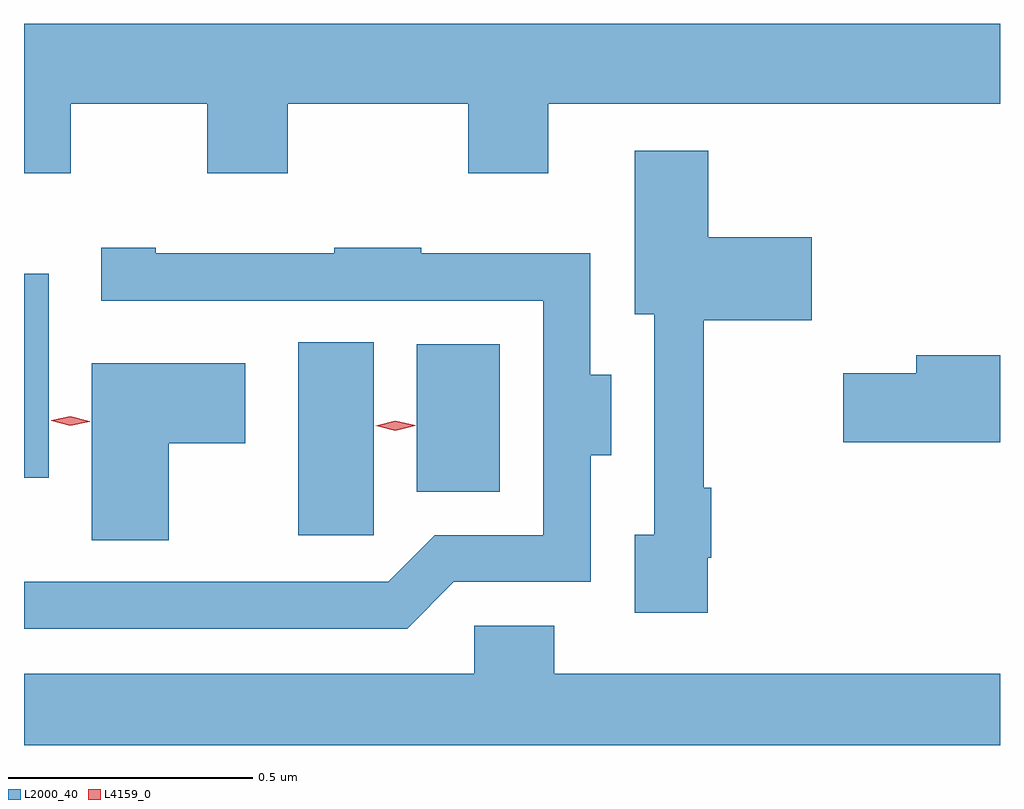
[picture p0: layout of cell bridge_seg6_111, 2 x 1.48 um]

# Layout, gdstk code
import gdstk
lib = gdstk.Library(unit=1e-6, precision=1e-09)
def R(c, l, rs):  # rectangles x0, y0, x1, y1
    for r in rs: c.add(gdstk.rectangle(r[:2], r[2:], *l))
def P(c, l, *ps):  # polygons
    for p in ps: c.add(gdstk.Polygon(p, *l))
L2000_40 = (2000, 40)
L4159_0 = (4159, 0)

bridge_seg6_111 = lib.new_cell('bridge_seg6_111')
R(bridge_seg6_111, L2000_40, [(462.365,993.072,462.52,993.467), (462.608,993.161,462.778,993.463), (461.803,993.189,461.854,993.607)])
P(bridge_seg6_111, L2000_40, [(461.899,993.956),(462.179,993.956),(462.179,993.813),(462.343,993.813),(462.343,993.956),(462.713,993.956),(462.713,993.813),(462.877,993.813),(462.877,993.956),(463.803,993.956),(463.803,994.12),(461.803,994.12),(461.803,993.813),(461.899,993.813)],
  [(463.204,993.025),(463.211,993.025),(463.211,993.169),(463.196,993.169),(463.196,993.512),(463.417,993.512),(463.417,993.682),(463.205,993.682),(463.205,993.859),(463.055,993.859),(463.055,993.524),(463.095,993.524),(463.095,993.073),(463.055,993.073),(463.055,992.913),(463.204,992.913)],
  [(462.684,992.976),(462.964,992.976),(462.964,993.236),(463.006,993.236),(463.006,993.4),(462.963,993.4),(462.963,993.649),(462.617,993.649),(462.617,993.661),(462.439,993.661),(462.439,993.649),(462.073,993.649),(462.073,993.661),(461.961,993.661),(461.961,993.552),(462.867,993.552),(462.867,993.072),(462.645,993.072),(462.549,992.976),(461.803,992.976),(461.803,992.88),(462.588,992.88)],
  [(463.803,993.44),(463.631,993.44),(463.631,993.404),(463.482,993.404),(463.482,993.262),(463.803,993.262)],
  [(462.1,993.26),(462.256,993.26),(462.256,993.424),(461.942,993.424),(461.942,993.061),(462.1,993.061)],
  [(463.803,992.788),(462.89,992.788),(462.89,992.886),(462.726,992.886),(462.726,992.788),(461.803,992.788),(461.803,992.641),(463.803,992.641)])
P(bridge_seg6_111, L4159_0, [(462.564,993.286),(462.524,993.296),(462.524,993.296),(462.524,993.296),(462.564,993.306),(462.605,993.297),(462.605,993.297),(462.605,993.296)],
  [(461.898,993.296),(461.859,993.306),(461.859,993.307),(461.859,993.307),(461.898,993.315),(461.938,993.305),(461.938,993.304),(461.938,993.304)])

lib.write_gds('bridge_seg6_111.gds')
